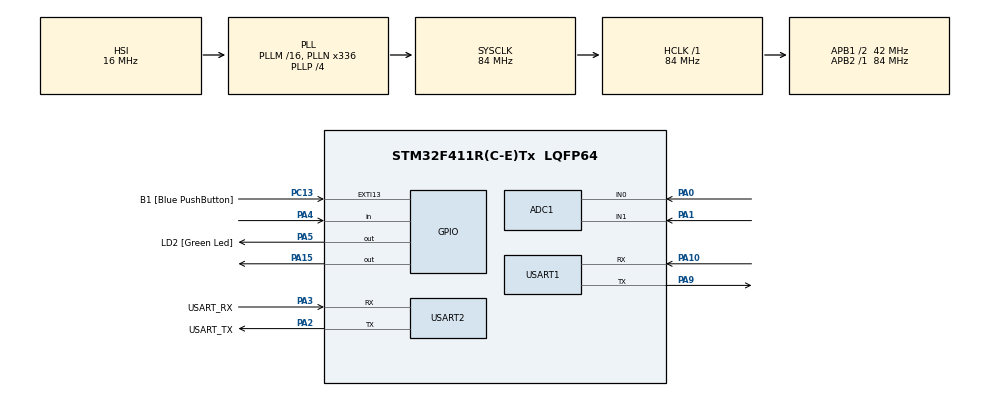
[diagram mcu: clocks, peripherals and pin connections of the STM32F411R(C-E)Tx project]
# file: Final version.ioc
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ADC1.Channel-0\#ChannelRegularConversion=ADC_CHANNEL_0
ADC1.Channel-1\#ChannelRegularConversion=ADC_CHANNEL_1
ADC1.ContinuousConvMode=ENABLE
ADC1.DMAContinuousRequests=ENABLE
ADC1.NbrOfConversion=2
ADC1.NbrOfConversionFlag=1
ADC1.Rank-0\#ChannelRegularConversion=1
ADC1.Rank-1\#ChannelRegularConversion=2
ADC1.SamplingTime-0\#ChannelRegularConversion=ADC_SAMPLETIME_3CYCLES
ADC1.SamplingTime-1\#ChannelRegularConversion=ADC_SAMPLETIME_3CYCLES
ADC1.ScanConvMode=ENABLE
ADC1.master=1
Dma.ADC1.0.Direction=DMA_PERIPH_TO_MEMORY
Dma.ADC1.0.FIFOMode=DMA_FIFOMODE_DISABLE
Dma.ADC1.0.Instance=DMA2_Stream0
Dma.ADC1.0.MemDataAlignment=DMA_MDATAALIGN_WORD
Dma.ADC1.0.MemInc=DMA_MINC_ENABLE
Dma.ADC1.0.Mode=DMA_CIRCULAR
Dma.ADC1.0.PeriphDataAlignment=DMA_PDATAALIGN_WORD
Dma.ADC1.0.PeriphInc=DMA_PINC_DISABLE
Dma.ADC1.0.Priority=DMA_PRIORITY_LOW
Dma.Request0=ADC1
Mcu.Family=STM32F4
Mcu.Name=STM32F411R(C-E)Tx
Mcu.Package=LQFP64
NVIC.DMA2_Stream0_IRQn=true\:0\:0\:false\:false\:true\:false\:true\:true
NVIC.PriorityGroup=NVIC_PRIORITYGROUP_0
PA0-WKUP.Signal=ADCx_IN0
PA1.Signal=ADCx_IN1
PA10.Mode=Asynchronous
PA10.Signal=USART1_RX
PA13.GPIO_Label=TMS
PA13.Mode=Serial_Wire
PA13.Signal=SYS_JTMS-SWDIO
PA14.GPIO_Label=TCK
PA14.Mode=Serial_Wire
PA14.Signal=SYS_JTCK-SWCLK
PA15.Signal=GPIO_Output
PA2.GPIO_Label=USART_TX
PA2.Mode=Asynchronous
PA2.Signal=USART2_TX
PA3.GPIO_Label=USART_RX
PA3.Mode=Asynchronous
PA3.Signal=USART2_RX
PA4.Signal=GPIO_Input
PA5.GPIO_Label=LD2 [Green Led]
PA5.Signal=GPIO_Output
PA9.Mode=Asynchronous
PA9.Signal=USART1_TX
PB3.GPIO_Label=SWO
PB3.Signal=SYS_JTDO-SWO
PC13-ANTI_TAMP.GPIO_Label=B1 [Blue PushButton]
PC13-ANTI_TAMP.GPIO_ModeDefaultEXTI=GPIO_MODE_IT_FALLING
PC13-ANTI_TAMP.Signal=GPXTI13
PC14-OSC32_IN.Mode=LSE-External-Oscillator
PC14-OSC32_IN.Signal=RCC_OSC32_IN
PC15-OSC32_OUT.Mode=LSE-External-Oscillator
PC15-OSC32_OUT.Signal=RCC_OSC32_OUT
PH0\ -\ OSC_IN.Mode=HSE-External-Clock-Source
PH0\ -\ OSC_IN.Signal=RCC_OSC_IN
PH1\ -\ OSC_OUT.Mode=HSE-External-Clock-Source
PH1\ -\ OSC_OUT.Signal=RCC_OSC_OUT
ProjectManager.HeapSize=0x200
ProjectManager.StackSize=0x400
ProjectManager.TargetToolchain=STM32CubeIDE
RCC.48MHZClocksFreq_Value=84000000
RCC.AHBFreq_Value=84000000
RCC.APB1CLKDivider=RCC_HCLK_DIV2
RCC.APB1Freq_Value=42000000
RCC.APB1TimFreq_Value=84000000
RCC.APB2Freq_Value=84000000
RCC.APB2TimFreq_Value=84000000
RCC.CortexFreq_Value=84000000
RCC.FLatency-AdvancedSettings=FLASH_LATENCY_2
RCC.HCLKFreq_Value=84000000
RCC.HSE_VALUE=8000000
RCC.HSI_VALUE=16000000
RCC.PLLN=336
RCC.PLLP=RCC_PLLP_DIV4
RCC.SYSCLKFreq_VALUE=84000000
RCC.SYSCLKSource=RCC_SYSCLKSOURCE_PLLCLK
RCC.VCOOutputFreq_Value=336000000
SH.ADCx_IN0.0=ADC1_IN0,IN0
SH.ADCx_IN1.0=ADC1_IN1,IN1
USART1.VirtualMode=VM_ASYNC
USART2.VirtualMode=VM_ASYNC
board=NUCLEO-F411RE

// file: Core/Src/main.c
/* USER CODE BEGIN Header */
/**
  ******************************************************************************
  * @file           : main.c
  * @brief          : Main program body
  ******************************************************************************
  * @attention
  *
  * Copyright (c) 2023 STMicroelectronics.
  * All rights reserved.
  *
  * This software is licensed under terms that can be found in the LICENSE file
  * in the root directory of this software component.
  * If no LICENSE file comes with this software, it is provided AS-IS.
  *
  ******************************************************************************
  */
/* USER CODE END Header */
#include "main.h"

/* USER CODE BEGIN Includes */
#include "DHT.h"
/* USER CODE END Includes */

ADC_HandleTypeDef hadc1;
DMA_HandleTypeDef hdma_adc1;

UART_HandleTypeDef huart1;
UART_HandleTypeDef huart2;

void SystemClock_Config(void);
static void MX_GPIO_Init(void);
static void MX_DMA_Init(void);
static void MX_USART2_UART_Init(void);
static void MX_ADC1_Init(void);
static void MX_USART1_UART_Init(void);

/* USER CODE BEGIN 0 */
DHT_DataTypedef DHT11_Data;
float Temperature, Humidity;

uint32_t light, humid;
int count=0;
uint32_t adcvals[2];

int airHumid, airTemp, lightLevel, soilHumid;
/* USER CODE END 0 */

int main(void)
{

  /* MCU Configuration--------------------------------------------------------*/

  /* Reset of all peripherals, Initializes the Flash interface and the Systick. */
  HAL_Init();

  /* Configure the system clock */
  SystemClock_Config();

  /* Initialize all configured peripherals */
  MX_GPIO_Init();
  MX_DMA_Init();
  MX_USART2_UART_Init();
  MX_ADC1_Init();
  MX_USART1_UART_Init();
  /* USER CODE BEGIN 2 */
  HAL_ADC_Start_DMA(&hadc1, adcvals, 2);
  HAL_NVIC_DisableIRQ(DMA2_Stream0_IRQn);
  HAL_GPIO_WritePin(GPIOA, GPIO_PIN_15, 1);
  /* USER CODE END 2 */

  /* Infinite loop */
  /* USER CODE BEGIN WHILE */
  while (1)
  {
	  HAL_GPIO_TogglePin(GPIOA, GPIO_PIN_5);

	  DHT_GetData(&DHT11_Data);
	  Temperature = DHT11_Data.Temperature;
	  Humidity = DHT11_Data.Humidity;

	  uint8_t buffer[50];
	  sprintf(buffer, "Air temperature: %f\r\nAir humidity: %f\r\n", Temperature, Humidity);
	  HAL_UART_Transmit(&huart2, buffer, strlen(buffer), HAL_MAX_DELAY);
	  airHumid=(int)Humidity;
	  if(airHumid>100) airHumid=100;
	  if(airHumid<0) airHumid=0;

	  airTemp=(int)Temperature;
	  if(airTemp>100) airTemp=100;
	  if(airTemp<0) airTemp=0;

	  char lightChar[50], humidChar[50];
	  //read light intensity
	  light = adcvals[0];
	  sprintf(lightChar, "Light level: %d \r\n",light);
	  HAL_UART_Transmit(&huart2, lightChar, strlen(lightChar), HAL_MAX_DELAY);
	  lightLevel=light*100/4095;
	  if(lightLevel>100) lightLevel=100;
	  if(lightLevel<0) lightLevel=0;

	  //read soil humidity
	  humid = adcvals[1];
	  sprintf(humidChar, "Soil humidity: %d \r\n",humid);
	  HAL_UART_Transmit(&huart2, humidChar, strlen(humidChar), HAL_MAX_DELAY);
	  soilHumid=((4095-humid)*100)/3595;
	  if(soilHumid>100) soilHumid=100;
	  if(soilHumid<0) soilHumid=0;

	  char cnt[50];
	  sprintf(cnt, "count %d \r\n \r\n",count);
	  HAL_UART_Transmit(&huart2, cnt, strlen(cnt), HAL_MAX_DELAY);
	  count++;

	  char data[50];
	  sprintf(data,"%d|%d|%d|%d",airHumid, lightLevel, soilHumid, airTemp);
	  HAL_UART_Transmit(&huart1, data, strlen(data), HAL_MAX_DELAY);

	  HAL_Delay(10000);
    /* USER CODE END WHILE */

  }
}

void SystemClock_Config(void)
{
  RCC_OscInitTypeDef RCC_OscInitStruct = {0};
  RCC_ClkInitTypeDef RCC_ClkInitStruct = {0};

  /** Configure the main internal regulator output voltage
  */
  __HAL_RCC_PWR_CLK_ENABLE();
  __HAL_PWR_VOLTAGESCALING_CONFIG(PWR_REGULATOR_VOLTAGE_SCALE1);

  /** Initializes the RCC Oscillators according to the specified parameters
  * in the RCC_OscInitTypeDef structure.
  */
  RCC_OscInitStruct.OscillatorType = RCC_OSCILLATORTYPE_HSI;
  RCC_OscInitStruct.HSIState = RCC_HSI_ON;
  RCC_OscInitStruct.HSICalibrationValue = RCC_HSICALIBRATION_DEFAULT;
  RCC_OscInitStruct.PLL.PLLState = RCC_PLL_ON;
  RCC_OscInitStruct.PLL.PLLSource = RCC_PLLSOURCE_HSI;
  RCC_OscInitStruct.PLL.PLLM = 16;
  RCC_OscInitStruct.PLL.PLLN = 336;
  RCC_OscInitStruct.PLL.PLLP = RCC_PLLP_DIV4;
  RCC_OscInitStruct.PLL.PLLQ = 4;
  if (HAL_RCC_OscConfig(&RCC_OscInitStruct) != HAL_OK)
  {
    Error_Handler();
  }

  /** Initializes the CPU, AHB and APB buses clocks
  */
  RCC_ClkInitStruct.ClockType = RCC_CLOCKTYPE_HCLK|RCC_CLOCKTYPE_SYSCLK
                              |RCC_CLOCKTYPE_PCLK1|RCC_CLOCKTYPE_PCLK2;
  RCC_ClkInitStruct.SYSCLKSource = RCC_SYSCLKSOURCE_PLLCLK;
  RCC_ClkInitStruct.AHBCLKDivider = RCC_SYSCLK_DIV1;
  RCC_ClkInitStruct.APB1CLKDivider = RCC_HCLK_DIV2;
  RCC_ClkInitStruct.APB2CLKDivider = RCC_HCLK_DIV1;

  if (HAL_RCC_ClockConfig(&RCC_ClkInitStruct, FLASH_LATENCY_2) != HAL_OK)
  {
    Error_Handler();
  }
}

static void MX_ADC1_Init(void)
{

  ADC_ChannelConfTypeDef sConfig = {0};

  /** Configure the global features of the ADC (Clock, Resolution, Data Alignment and number of conversion)
  */
  hadc1.Instance = ADC1;
  hadc1.Init.ClockPrescaler = ADC_CLOCK_SYNC_PCLK_DIV4;
  hadc1.Init.Resolution = ADC_RESOLUTION_12B;
  hadc1.Init.ScanConvMode = ENABLE;
  hadc1.Init.ContinuousConvMode = ENABLE;
  hadc1.Init.DiscontinuousConvMode = DISABLE;
  hadc1.Init.ExternalTrigConvEdge = ADC_EXTERNALTRIGCONVEDGE_NONE;
  hadc1.Init.ExternalTrigConv = ADC_SOFTWARE_START;
  hadc1.Init.DataAlign = ADC_DATAALIGN_RIGHT;
  hadc1.Init.NbrOfConversion = 2;
  hadc1.Init.DMAContinuousRequests = ENABLE;
  hadc1.Init.EOCSelection = ADC_EOC_SINGLE_CONV;
  if (HAL_ADC_Init(&hadc1) != HAL_OK)
  {
    Error_Handler();
  }

  /** Configure for the selected ADC regular channel its corresponding rank in the sequencer and its sample time.
  */
  sConfig.Channel = ADC_CHANNEL_0;
  sConfig.Rank = 1;
  sConfig.SamplingTime = ADC_SAMPLETIME_3CYCLES;
  if (HAL_ADC_ConfigChannel(&hadc1, &sConfig) != HAL_OK)
  {
    Error_Handler();
  }

  /** Configure for the selected ADC regular channel its corresponding rank in the sequencer and its sample time.
  */
  sConfig.Channel = ADC_CHANNEL_1;
  sConfig.Rank = 2;
  if (HAL_ADC_ConfigChannel(&hadc1, &sConfig) != HAL_OK)
  {
    Error_Handler();
  }

}

static void MX_USART1_UART_Init(void)
{

  huart1.Instance = USART1;
  huart1.Init.BaudRate = 115200;
  huart1.Init.WordLength = UART_WORDLENGTH_8B;
  huart1.Init.StopBits = UART_STOPBITS_1;
  huart1.Init.Parity = UART_PARITY_NONE;
  huart1.Init.Mode = UART_MODE_TX_RX;
  huart1.Init.HwFlowCtl = UART_HWCONTROL_NONE;
  huart1.Init.OverSampling = UART_OVERSAMPLING_16;
  if (HAL_UART_Init(&huart1) != HAL_OK)
  {
    Error_Handler();
  }

}

static void MX_USART2_UART_Init(void)
{

  huart2.Instance = USART2;
  huart2.Init.BaudRate = 115200;
  huart2.Init.WordLength = UART_WORDLENGTH_8B;
  huart2.Init.StopBits = UART_STOPBITS_1;
  huart2.Init.Parity = UART_PARITY_NONE;
  huart2.Init.Mode = UART_MODE_TX_RX;
  huart2.Init.HwFlowCtl = UART_HWCONTROL_NONE;
  huart2.Init.OverSampling = UART_OVERSAMPLING_16;
  if (HAL_UART_Init(&huart2) != HAL_OK)
  {
    Error_Handler();
  }

}

static void MX_DMA_Init(void)
{

  /* DMA controller clock enable */
  __HAL_RCC_DMA2_CLK_ENABLE();

  /* DMA interrupt init */
  /* DMA2_Stream0_IRQn interrupt configuration */
  HAL_NVIC_SetPriority(DMA2_Stream0_IRQn, 0, 0);
  HAL_NVIC_EnableIRQ(DMA2_Stream0_IRQn);

}

static void MX_GPIO_Init(void)
{
  GPIO_InitTypeDef GPIO_InitStruct = {0};

  /* GPIO Ports Clock Enable */
  __HAL_RCC_GPIOC_CLK_ENABLE();
  __HAL_RCC_GPIOH_CLK_ENABLE();
  __HAL_RCC_GPIOA_CLK_ENABLE();
  __HAL_RCC_GPIOB_CLK_ENABLE();

  /*Configure GPIO pin Output Level */
  HAL_GPIO_WritePin(GPIOA, LD2_Pin|GPIO_PIN_15, GPIO_PIN_RESET);

  /*Configure GPIO pin : B1_Pin */
  GPIO_InitStruct.Pin = B1_Pin;
  GPIO_InitStruct.Mode = GPIO_MODE_IT_FALLING;
  GPIO_InitStruct.Pull = GPIO_NOPULL;
  HAL_GPIO_Init(B1_GPIO_Port, &GPIO_InitStruct);

  /*Configure GPIO pin : PA4 */
  GPIO_InitStruct.Pin = GPIO_PIN_4;
  GPIO_InitStruct.Mode = GPIO_MODE_INPUT;
  GPIO_InitStruct.Pull = GPIO_NOPULL;
  HAL_GPIO_Init(GPIOA, &GPIO_InitStruct);

  /*Configure GPIO pins : LD2_Pin PA15 */
  GPIO_InitStruct.Pin = LD2_Pin|GPIO_PIN_15;
  GPIO_InitStruct.Mode = GPIO_MODE_OUTPUT_PP;
  GPIO_InitStruct.Pull = GPIO_NOPULL;
  GPIO_InitStruct.Speed = GPIO_SPEED_FREQ_LOW;
  HAL_GPIO_Init(GPIOA, &GPIO_InitStruct);

}

void Error_Handler(void)
{
  __disable_irq();
  while (1)
  {
  }
}
